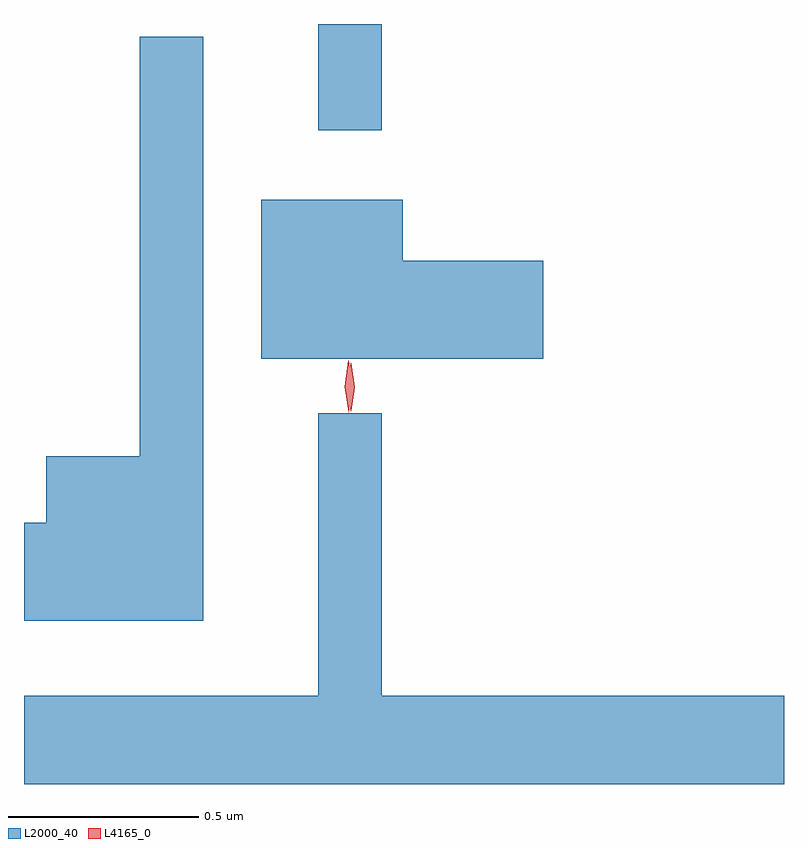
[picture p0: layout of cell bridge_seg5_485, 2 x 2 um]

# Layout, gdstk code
import gdstk
lib = gdstk.Library(unit=1e-6, precision=1e-09)
def R(c, l, rs):  # rectangles x0, y0, x1, y1
    for r in rs: c.add(gdstk.rectangle(r[:2], r[2:], *l))
def P(c, l, *ps):  # polygons
    for p in ps: c.add(gdstk.Polygon(p, *l))
L2000_40 = (2000, 40)
L4165_0 = (4165, 0)

bridge_seg5_485 = lib.new_cell('bridge_seg5_485')
R(bridge_seg5_485, L2000_40, [(254.491,1520.713,254.659,1520.992)])
P(bridge_seg5_485, L2000_40, [(254.189,1520.958),(254.021,1520.958),(254.021,1519.854),(253.776,1519.854),(253.776,1519.679),(253.717,1519.679),(253.717,1519.421),(254.189,1519.421)],
  [(255.084,1520.369),(254.714,1520.369),(254.714,1520.529),(254.341,1520.529),(254.341,1520.111),(255.084,1520.111)],
  [(255.717,1519.224),(254.659,1519.224),(254.659,1519.968),(254.491,1519.968),(254.491,1519.224),(253.717,1519.224),(253.717,1518.992),(255.717,1518.992)])
P(bridge_seg5_485, L4165_0, [(254.571,1519.97),(254.561,1520.038),(254.57,1520.106),(254.57,1520.106),(254.571,1520.106),(254.581,1520.038),(254.572,1519.97),(254.572,1519.97)],
  [(254.577,1519.973),(254.577,1519.974),(254.567,1520.036),(254.577,1520.099),(254.577,1520.1),(254.578,1520.099),(254.587,1520.036),(254.578,1519.974)])

lib.write_gds('bridge_seg5_485.gds')
